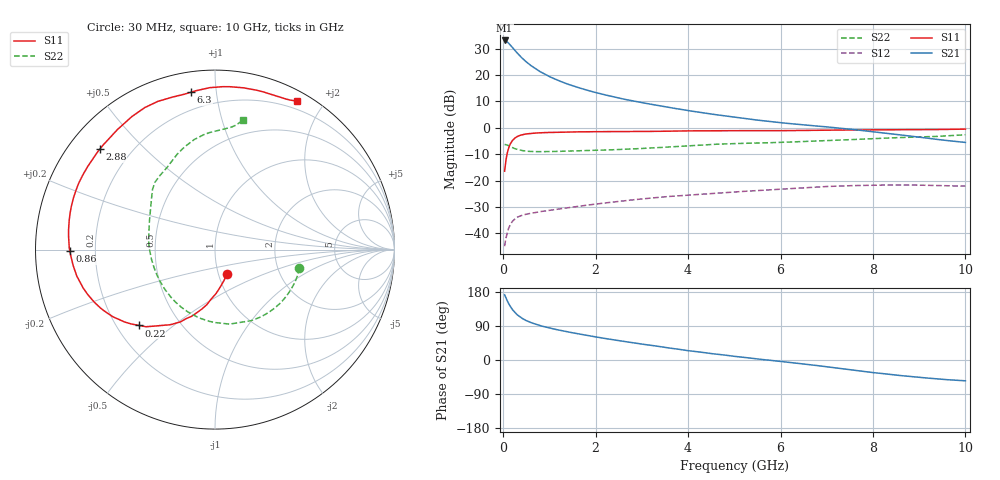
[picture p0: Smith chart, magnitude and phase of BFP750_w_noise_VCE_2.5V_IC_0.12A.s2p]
! Infineon Technologies  Discrete & RF Semiconductors
! BFP750
! VCE =  2.5 V,  IC = 0.12 A
! Common Emitter S-Parameters:  Jan 2016
# GHz  S  MA  R  50
!  f  S11  S21  S12  S22
! GHz  MAG  ANG  MAG  ANG  MAG  ANG  MAG  ANG
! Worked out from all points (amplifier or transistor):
!   229 points, 30 MHz to 10 GHz, reference 50 ohm
!   highest |S21| = 33.1 dB at 30 MHz (marker M1)
!   |S21| within 3 dB of that: start of sweep to 215.6 MHz
!   unconditionally stable (mu >= 1): start of sweep to 71.1 MHz; 1.977 GHz to end of sweep
!   at 280 MHz: K = 0.51, MSG = 31.5 dB, |S12| = -34.2 dB
!   at 1.78 GHz: K = 0.96, MSG = 21.9 dB, |S12| = -29.4 dB
!   at 10 GHz: K = 1.16, MAG = 5.8 dB, |S12| = -22.1 dB
!   lowest NFmin = 1.96 dB at 450 MHz
!   S11 on the Smith chart (normalised r, x): 30 MHz: 1.10, -0.30; 220 MHz: 0.29, -0.38; 860 MHz: 0.11, -0.01; 2.88 GHz: 0.09, +0.37; 6.3 GHz: 0.10, +0.85; 10 GHz: 0.11, +1.69
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0.03  0.1505 -63.4  45.28 172.1  0.0057 32.7  0.4811 -12.3
0.05  0.2113 -82.2  44.66 166.3  0.0074 42.3  0.4807 -22.2
0.07  0.2761 -94.4  43.56 160.6  0.0088 43.9  0.4757 -31.2
0.1  0.367 -106.2  41.49 153.1  0.0111 44.3  0.4658 -44.0
0.12  0.418 -112.8  39.89 148.4  0.0126 44.4  0.4574 -52.0
0.15  0.4885 -121.0  37.45 141.9  0.0144 42.4  0.444 -63.1
0.2  0.5768 -131.8  33.25 132.8  0.0169 39.4  0.423 -78.9
0.22  0.5994 -135.2  31.73 130.1  0.0176 38.0  0.4133 -84.0
0.3  0.6812 -146.7  26.34 119.6  0.02 33.9  0.391 -103.1
0.36  0.716 -152.9  23.15 113.9  0.0212 31.8  0.3781 -113.7
0.45  0.7513 -160.4  19.39 106.9  0.0225 29.7  0.3662 -126.6
0.6  0.7841 -169.2  15.11 98.6  0.024 28.0  0.3564 -141.7
0.86  0.8086 -179.4  10.84 88.7  0.0262 27.7  0.3529 -157.8
1.2  0.8254 171.0  7.822 79.0  0.0288 28.5  0.3578 -171.0
1.7  0.8396 160.1  5.526 67.4  0.0331 29.5  0.3683 176.8
2.88  0.8515 139.0  3.141 44.2  0.0437 27.6  0.4008 155.4
3.4  0.8587 130.7  2.596 35.1  0.0483 25.1  0.4234 148.0
5.1  0.8839 110.0  1.551 8.4  0.0615 15.7  0.5049 130.6
6.3  0.8871 98.6  1.18 -7.8  0.071 7.8  0.5412 117.6
6.8  0.8973 93.9  1.077 -14.8  0.0753 3.5  0.5625 113.3
8.4  0.9177 75.4  0.768 -38.5  0.0822 -12.2  0.6443 95.3
10  0.9442 61.2  0.528 -54.9  0.0784 -24.7  0.7387 77.7
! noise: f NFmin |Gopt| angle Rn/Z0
0.45  1.96  0.39  -169  0.34
0.9  1.96  0.49  -163  0.17
1.5  1.98  0.59  -154  0.11
1.9  1.99  0.6  -148  0.13
2.4  2.01  0.6  -141  0.19
3.5  2.46  0.62  -124  0.32
